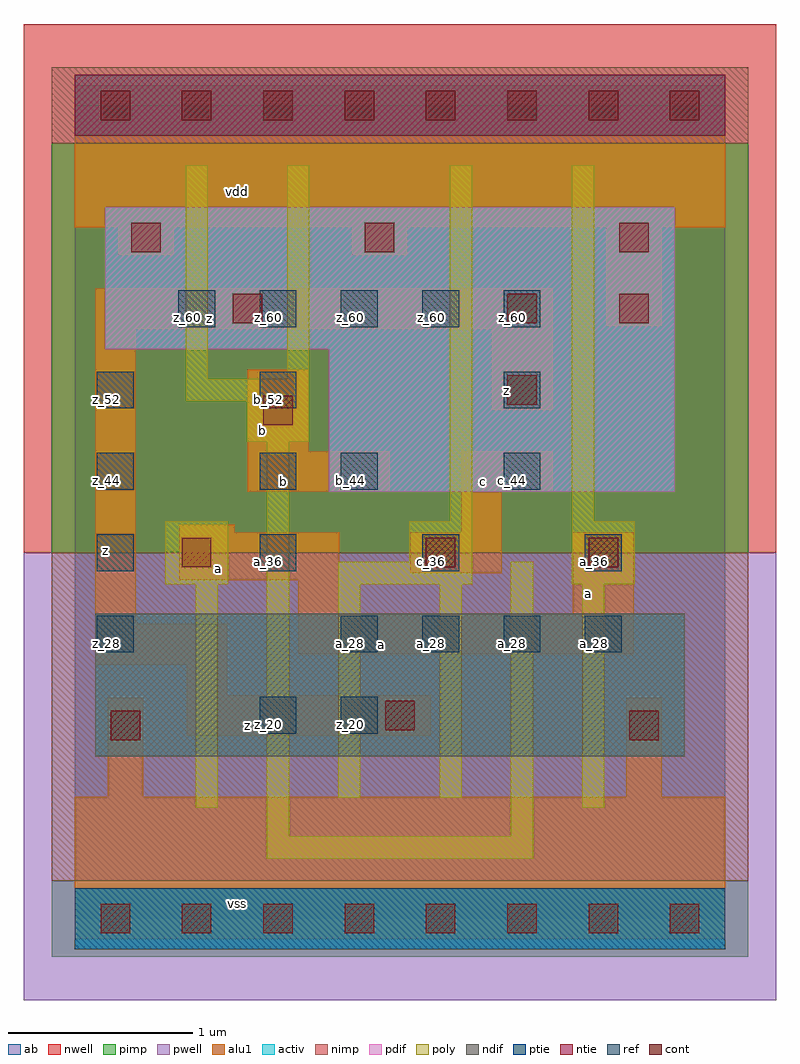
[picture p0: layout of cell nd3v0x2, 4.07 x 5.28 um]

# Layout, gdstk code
import gdstk
lib = gdstk.Library(unit=1e-6, precision=2.5e-09)
def R(c, l, rs):  # rectangles x0, y0, x1, y1
    for r in rs: c.add(gdstk.rectangle(r[:2], r[2:], *l))
def A(c, l, x, y, w, h, nx, ny, dx, dy):  # array of equal rectangles
    R(c, l, [(x+i*dx, y+j*dy, x+i*dx+w, y+j*dy+h) for i in range(nx) for j in range(ny)])
ndif = (3, 0)
pdif = (4, 0)
ntie = (5, 0)
ptie = (6, 0)
ref = (24, 0)
cont = (25, 0)
pwell = (41, 0)
nwell = (42, 0)
activ = (43, 0)
pimp = (44, 0)
nimp = (45, 0)
poly = (46, 0)
alu1 = (49, 0)
ab = (63, 0)

nd3v0x2 = lib.new_cell('nd3v0x2')
R(nd3v0x2, ndif, [(0.11,0.88,3.3,1.65)])
R(nd3v0x2, pdif, [(1.375,2.31,3.245,3.08), (0.165,3.08,3.245,3.85)])
R(nd3v0x2, ntie, [(0,4.235,3.52,4.565)])
R(nd3v0x2, ptie, [(0,-0.165,3.52,0.165)])
A(nd3v0x2, ref, 1.44, 1.44, 0.2, 0.2, 4, 1, 0.44, 0)
A(nd3v0x2, ref, 0.12, 1.88, 0.2, 0.2, 4, 1, 0.88, 0)
A(nd3v0x2, ref, 0.56, 3.2, 0.2, 0.2, 5, 1, 0.44, 0)
R(nd3v0x2, ref, [(1,1,1.2,1.2), (1.44,1,1.64,1.2), (0.12,1.44,0.32,1.64), (0.12,2.32,0.32,2.52), (1,2.32,1.2,2.52), (1.44,2.32,1.64,2.52), (2.32,2.32,2.52,2.52), (0.12,2.76,0.32,2.96), (1,2.76,1.2,2.96), (2.32,2.76,2.52,2.96)])
A(nd3v0x2, cont, 0.14, -0.08, 0.16, 0.16, 8, 2, 0.44, 4.4)
R(nd3v0x2, cont, [(0.195,0.965,0.355,1.125), (3,0.965,3.16,1.125), (1.68,1.02,1.84,1.18), (0.58,1.9,0.74,2.06), (1.9,1.9,2.06,2.06), (2.78,1.9,2.94,2.06), (1.02,2.67,1.18,2.83), (2.34,2.78,2.5,2.94), (0.855,3.22,1.015,3.38), (2.34,3.22,2.5,3.38), (2.945,3.22,3.105,3.38), (0.305,3.605,0.465,3.765), (1.57,3.605,1.73,3.765), (2.945,3.605,3.105,3.765)])
R(nd3v0x2, pwell, [(-0.275,-0.44,3.795,1.98)])
R(nd3v0x2, nwell, [(-0.275,1.98,3.795,4.84)])
R(nd3v0x2, activ, [(0,-0.165,3.52,0.165), (0.11,0.88,3.3,1.65), (1.375,2.31,3.245,3.08), (0.165,3.08,3.245,3.85), (0,4.235,3.52,4.565)])
R(nd3v0x2, pimp, [(-0.125,-0.205,3.645,0.205), (-0.125,1.98,3.645,4.195)])
R(nd3v0x2, nimp, [(-0.125,0.205,3.645,1.98), (-0.125,4.195,3.645,4.605)])
R(nd3v0x2, poly, [(1.04,0.325,2.48,0.445), (1.04,0.445,1.16,2.58), (2.36,0.445,2.48,1.93), (0.655,0.6,0.775,1.81), (2.745,0.6,2.865,1.81), (1.425,0.655,1.545,1.81), (1.975,0.655,2.095,1.81), (0.49,1.81,0.83,2.15), (1.425,1.81,2.15,1.93), (2.69,1.81,3.03,2.15), (1.81,1.93,2.15,2.15), (2.03,2.15,2.15,4.075), (2.69,2.15,2.81,4.075), (0.93,2.58,1.27,2.8), (0.6,2.8,1.27,2.92), (0.6,2.92,0.72,4.075), (1.15,2.92,1.27,4.075)])
R(nd3v0x2, alu1, [(0,-0.11,3.52,0.66), (0.18,0.66,0.37,1.195), (2.985,0.66,3.175,1.195), (0.605,0.99,1.925,1.21), (0.605,1.21,0.825,1.375), (0.11,1.375,0.825,1.595), (1.21,1.43,3.025,1.65), (0.11,1.595,0.33,3.19), (1.21,1.65,1.43,1.83), (2.695,1.65,3.025,2.09), (0.565,1.83,1.43,2.09), (1.815,1.87,2.31,2.09), (0.565,2.09,0.865,2.13), (2.09,2.09,2.31,2.31), (0.935,2.31,1.705,2.53), (2.09,2.31,2.585,2.53), (0.935,2.53,1.265,2.97), (2.255,2.75,2.585,3.19), (0.11,3.19,2.585,3.41), (2.875,3.205,3.175,3.74), (0.235,3.59,0.535,3.74), (1.5,3.59,1.8,3.74), (0,3.74,3.52,4.51)])
R(nd3v0x2, ab, [(0,0,3.52,4.4)])
nd3v0x2.add(gdstk.Label('vss', (0.88,0.0825), layer=49, texttype=0))
nd3v0x2.add(gdstk.Label('z', (0.935,1.045), layer=49, texttype=0))
nd3v0x2.add(gdstk.Label('a', (1.6625,1.485), layer=49, texttype=0))
nd3v0x2.add(gdstk.Label('a', (2.7775,1.76), layer=49, texttype=0))
nd3v0x2.add(gdstk.Label('a', (0.78,1.895), layer=49, texttype=0))
nd3v0x2.add(gdstk.Label('c', (2.2125,2.365), layer=49, texttype=0))
nd3v0x2.add(gdstk.Label('b', (1.1275,2.365), layer=49, texttype=0))
nd3v0x2.add(gdstk.Label('z', (2.3375,2.86), layer=49, texttype=0))
nd3v0x2.add(gdstk.Label('b', (1.0175,2.64), layer=49, texttype=0))
nd3v0x2.add(gdstk.Label('z', (0.165,1.9925), layer=49, texttype=0))
nd3v0x2.add(gdstk.Label('z', (0.7275,3.245), layer=49, texttype=0))
nd3v0x2.add(gdstk.Label('vdd', (0.88,3.9325), layer=49, texttype=0))
nd3v0x2.add(gdstk.Label('a_36', (1.05,1.93), layer=24, texttype=0))
nd3v0x2.add(gdstk.Label('b_44', (1.49,2.37), layer=24, texttype=0))
nd3v0x2.add(gdstk.Label('b_52', (1.05,2.81), layer=24, texttype=0))
nd3v0x2.add(gdstk.Label('z_60', (2.37,3.25), layer=24, texttype=0))
nd3v0x2.add(gdstk.Label('a_36', (2.81,1.93), layer=24, texttype=0))
nd3v0x2.add(gdstk.Label('a_28', (2.81,1.49), layer=24, texttype=0))
nd3v0x2.add(gdstk.Label('z_52', (2.37,2.81), layer=24, texttype=0))
nd3v0x2.add(gdstk.Label('c_44', (2.37,2.37), layer=24, texttype=0))
nd3v0x2.add(gdstk.Label('a_28', (2.37,1.49), layer=24, texttype=0))
nd3v0x2.add(gdstk.Label('z_52', (0.17,2.81), layer=24, texttype=0))
nd3v0x2.add(gdstk.Label('z_44', (0.17,2.37), layer=24, texttype=0))
nd3v0x2.add(gdstk.Label('z_36', (0.17,1.93), layer=24, texttype=0))
nd3v0x2.add(gdstk.Label('z_28', (0.17,1.49), layer=24, texttype=0))
nd3v0x2.add(gdstk.Label('z_60', (1.93,3.25), layer=24, texttype=0))
nd3v0x2.add(gdstk.Label('c_36', (1.93,1.93), layer=24, texttype=0))
nd3v0x2.add(gdstk.Label('a_28', (1.93,1.49), layer=24, texttype=0))
nd3v0x2.add(gdstk.Label('z_60', (1.49,3.25), layer=24, texttype=0))
nd3v0x2.add(gdstk.Label('a_28', (1.49,1.49), layer=24, texttype=0))
nd3v0x2.add(gdstk.Label('z_20', (1.49,1.05), layer=24, texttype=0))
nd3v0x2.add(gdstk.Label('z_60', (1.05,3.25), layer=24, texttype=0))
nd3v0x2.add(gdstk.Label('b_44', (1.05,2.37), layer=24, texttype=0))
nd3v0x2.add(gdstk.Label('z_20', (1.05,1.05), layer=24, texttype=0))
nd3v0x2.add(gdstk.Label('z_60', (0.61,3.25), layer=24, texttype=0))

lib.write_gds('nd3v0x2.gds')
